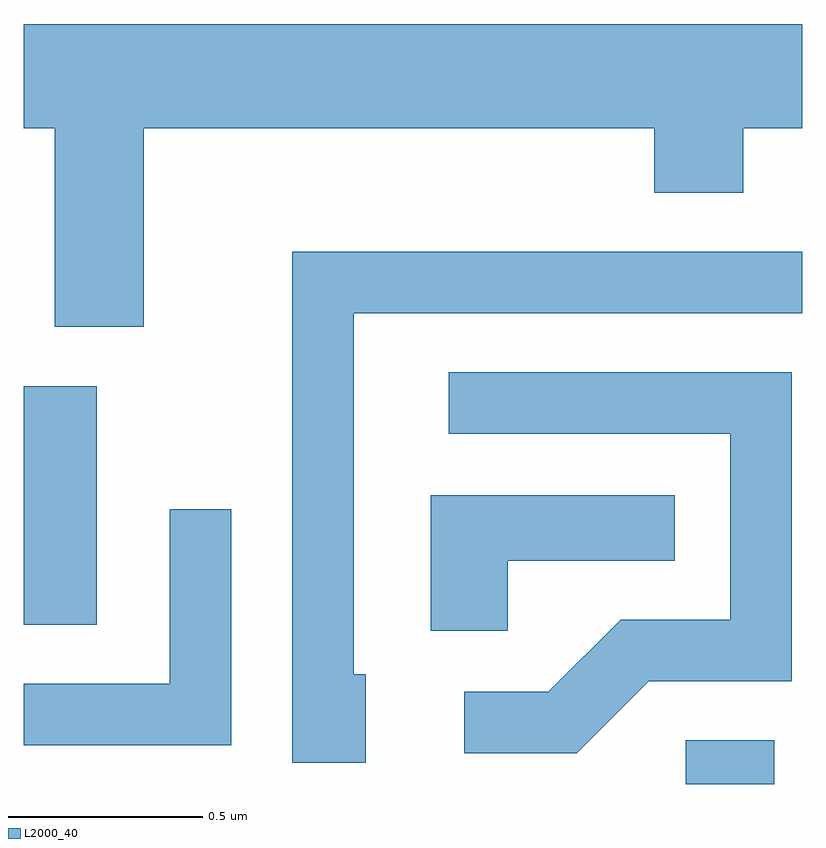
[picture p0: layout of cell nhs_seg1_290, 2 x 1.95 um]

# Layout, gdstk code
import gdstk
lib = gdstk.Library(unit=1e-6, precision=1e-09)
def R(c, l, rs):  # rectangles x0, y0, x1, y1
    for r in rs: c.add(gdstk.rectangle(r[:2], r[2:], *l))
def P(c, l, *ps):  # polygons
    for p in ps: c.add(gdstk.Polygon(p, *l))
L2000_40 = (2000, 40)

nhs_seg1_290 = lib.new_cell('nhs_seg1_290')
R(nhs_seg1_290, L2000_40, [(189.311,855.712,189.539,855.824), (187.611,856.121,187.799,856.734)])
P(nhs_seg1_290, L2000_40, [(187.919,857.396),(189.231,857.396),(189.231,857.231),(189.459,857.231),(189.459,857.396),(189.611,857.396),(189.611,857.664),(187.611,857.664),(187.611,857.396),(187.691,857.396),(187.691,856.886),(187.919,856.886)],
  [(188.489,855.994),(188.459,855.994),(188.459,856.921),(189.611,856.921),(189.611,857.079),(188.301,857.079),(188.301,855.766),(188.489,855.766)],
  [(189.217,855.976),(189.584,855.976),(189.584,856.769),(188.703,856.769),(188.703,856.611),(189.426,856.611),(189.426,856.134),(189.144,856.134),(188.959,855.949),(188.743,855.949),(188.743,855.791),(189.032,855.791)],
  [(188.854,856.286),(189.283,856.286),(189.283,856.454),(188.656,856.454),(188.656,856.106),(188.854,856.106)],
  [(188.144,856.418),(187.986,856.418),(187.986,855.969),(187.611,855.969),(187.611,855.811),(188.144,855.811)])

lib.write_gds('nhs_seg1_290.gds')
